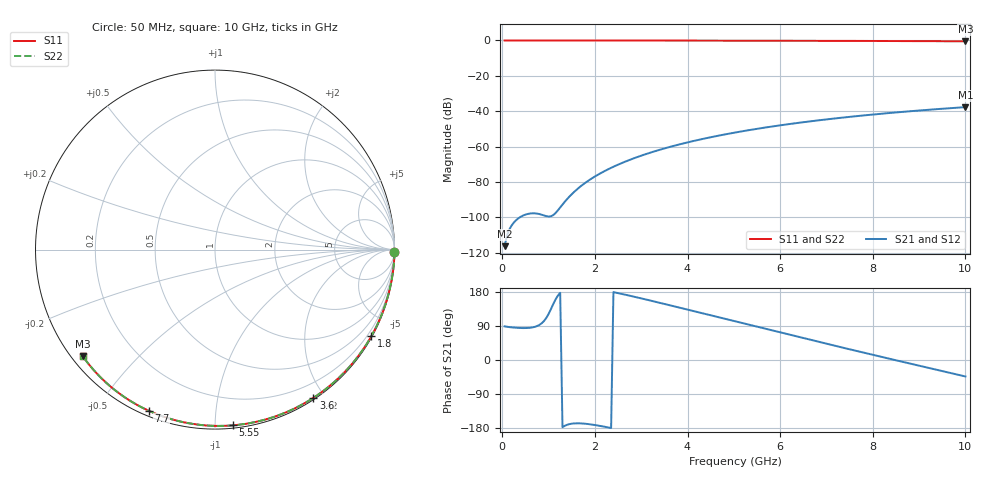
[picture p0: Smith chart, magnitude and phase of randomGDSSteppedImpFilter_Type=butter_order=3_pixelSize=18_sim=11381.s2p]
! freq	dB(S11)	phase(S11)	dB(S12)	phase(S12)
!  dB(S21)	phase(S21)	dB(S22)	phase(S22)
!S-par simulation data
#  GHz  S  DB  R 50
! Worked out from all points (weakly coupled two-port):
!   200 points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, 50 MHz to 10 GHz, reference 50 ohm
!   highest |S21| = -37.66 dB at 10 GHz (marker M1); lowest = -116.2 dB at 50 MHz (marker M2)
!   lowest |S11| = -0.5 dB at 10 GHz (marker M3), VSWR 36.30, Z = 1.55 - j17.6 ohm
!   |S11| at or under -10 dB: nowhere
!   |S22| runs from -0.5 to 0.0 dB; largest |S21 - S12| = 0
!   S11 on the Smith chart (normalised r, x): 50 MHz: open; 1.8 GHz: 0.03, -3.88; 3.6 GHz: 0.02, -1.86; 5.55 GHz: 0.02, -1.11; 7.7 GHz: 0.02, -0.67; 10 GHz: 0.03, -0.35
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0.05  -0.00 -0.8  -116.21 88.8  -116.21 88.8  -0.00 -0.8
0.45  -0.01 -7.3  -98.89 84.2  -98.89 84.2  -0.01 -7.3
0.9  -0.02 -14.6  -98.84 102.8  -98.84 102.8  -0.02 -14.6
1.75  -0.04 -28.1  -81.22 -167.7  -81.22 -167.7  -0.04 -28.1
1.8  -0.04 -28.9  -80.26 -168.3  -80.26 -168.3  -0.04 -28.9
1.85  -0.04 -29.7  -79.36 -169.0  -79.36 -169.0  -0.04 -29.7
2  -0.04 -32.0  -76.85 -171.6  -76.85 -171.6  -0.04 -32.1
2.15  -0.04 -34.4  -74.60 -174.7  -74.60 -174.7  -0.04 -34.4
2.35  -0.05 -37.5  -71.94 -179.6  -71.94 -179.6  -0.05 -37.5
2.55  -0.05 -40.6  -69.58 175.2  -69.58 175.2  -0.05 -40.6
2.95  -0.06 -46.7  -65.53 164.1  -65.53 164.1  -0.06 -46.7
3.4  -0.07 -53.5  -61.75 150.9  -61.75 150.9  -0.07 -53.5
3.6  -0.08 -56.4  -60.26 145.0  -60.26 145.0  -0.08 -56.5
4.3  -0.09 -66.7  -55.78 123.9  -55.78 123.9  -0.09 -66.7
5.05  -0.12 -77.3  -51.90 101.2  -51.90 101.2  -0.12 -77.3
5.55  -0.14 -84.2  -49.71 86.1  -49.71 86.1  -0.14 -84.2
6.1  -0.16 -91.6  -47.57 69.6  -47.57 69.6  -0.16 -91.7
6.7  -0.19 -99.6  -45.52 51.8  -45.52 51.8  -0.19 -99.6
7.7  -0.26 -112.4  -42.62 22.4  -42.62 22.4  -0.26 -112.5
8.35  -0.31 -120.6  -41.01 3.6  -41.01 3.6  -0.31 -120.7
9.2  -0.39 -131.2  -39.16 -20.7  -39.16 -20.7  -0.39 -131.2
10  -0.48 -141.1  -37.66 -43.4  -37.66 -43.4  -0.48 -141.2
